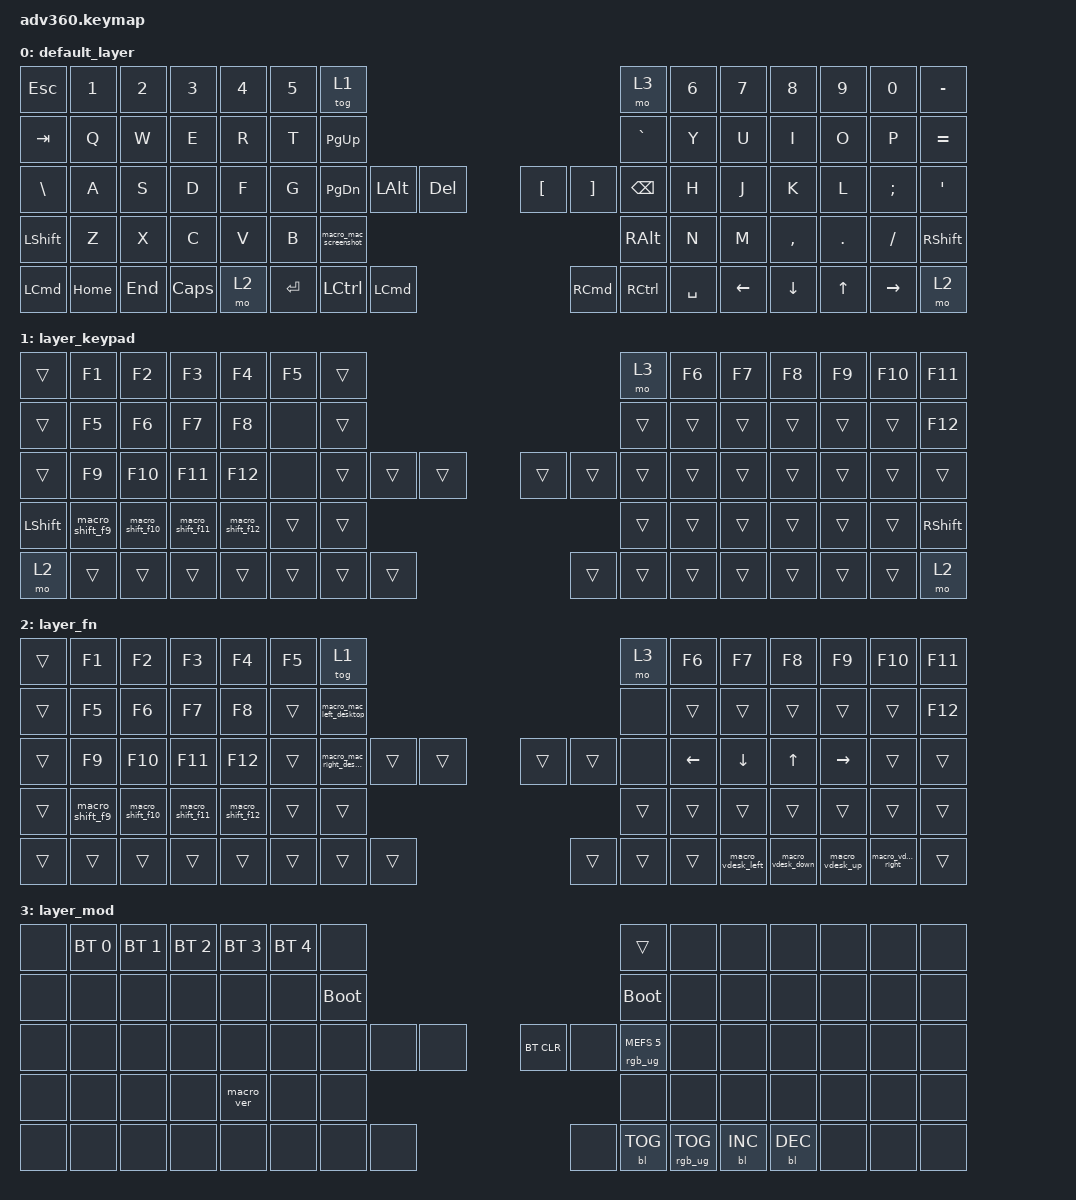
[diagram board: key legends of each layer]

/*
 * Copyright (c) 2020 The ZMK Contributors
 *
 * SPDX-License-Identifier: MIT
 */


/* THIS FILE WAS GENERATED!
 *
 * This file was generated automatically. You may or may not want to
 * edit it directly.
 */

#include <behaviors.dtsi>
#include <dt-bindings/zmk/keys.h>
#include <dt-bindings/zmk/bt.h>
#include <dt-bindings/zmk/rgb.h>
#include <dt-bindings/zmk/backlight.h>

/ {
  behaviors {
    #include "macros.dtsi"
    #include "version.dtsi"

    hm: homerow_mods {
        compatible = "zmk,behavior-hold-tap";
        label = "HOMEROW_MODS";
        #binding-cells = <2>;
        tapping-term-ms = <200>;
        quick_tap_ms = <175>;
        flavor = "tap-preferred";
        bindings = <&kp>, <&kp>;
    };
  };

    keymap {
        compatible = "zmk,keymap";


        default_layer {
            bindings = <
          &kp ESC    &kp N1   &kp N2    &kp N3  &kp N4  &kp N5                 &tog 1                                                                                          &mo 3  &kp N6          &kp N7          &kp N8        &kp N9           &kp N0  &kp MINUS
          &kp TAB     &kp Q    &kp W     &kp E   &kp R   &kp T            &kp PAGE_UP                                                                                      &kp GRAVE   &kp Y           &kp U           &kp I         &kp O            &kp P  &kp EQUAL
    &kp BACKSLASH     &kp A    &kp S     &kp D   &kp F   &kp G              &kp PG_DN   &kp LALT                &kp DEL                           &kp LBKT   &kp RBKT  &kp BACKSPACE   &kp H           &kp J           &kp K         &kp L         &kp SEMI    &kp SQT
        &kp LSHFT     &kp Z    &kp X     &kp C   &kp V   &kp B                                    &macro_mac_screenshot                      &kp RIGHT_ALT                             &kp N           &kp M       &kp COMMA       &kp DOT        &kp SLASH  &kp RSHFT
 &kp LEFT_COMMAND  &kp HOME  &kp END  &kp CAPS   &mo 2                      &kp ENTER  &kp LCTRL       &kp LEFT_COMMAND                  &kp RIGHT_COMMAND  &kp RCTRL      &kp SPACE          &kp LEFT_ARROW  &kp DOWN_ARROW  &kp UP_ARROW  &kp RIGHT_ARROW      &mo 2
            >;
        };

        layer_keypad {
            bindings = <
    &trans           &kp F1            &kp F2            &kp F3            &kp F4  &kp F5            &trans                                                   &mo 3  &kp F6  &kp F7  &kp F8  &kp F9  &kp F10    &kp F11
    &trans           &kp F5            &kp F6            &kp F7            &kp F8   &none            &trans                                                  &trans  &trans  &trans  &trans  &trans   &trans    &kp F12
    &trans           &kp F9           &kp F10           &kp F11           &kp F12   &none            &trans  &trans  &trans                  &trans  &trans  &trans  &trans  &trans  &trans  &trans   &trans     &trans
 &kp LSHFT  &macro_shift_f9  &macro_shift_f10  &macro_shift_f11  &macro_shift_f12  &trans                            &trans                  &trans                  &trans  &trans  &trans  &trans   &trans  &kp RSHFT
     &mo 2           &trans            &trans            &trans            &trans                    &trans  &trans  &trans                  &trans  &trans  &trans          &trans  &trans  &trans   &trans      &mo 2
            >;
        };

        layer_fn {
            bindings = <
 &trans           &kp F1            &kp F2            &kp F3            &kp F4  &kp F5                              &tog 1                                                   &mo 3          &kp F6             &kp F7             &kp F8           &kp F9             &kp F10  &kp F11
 &trans           &kp F5            &kp F6            &kp F7            &kp F8  &trans             &macro_mac_left_desktop                                                   &none          &trans             &trans             &trans           &trans              &trans  &kp F12
 &trans           &kp F9           &kp F10           &kp F11           &kp F12  &trans            &macro_mac_right_desktop  &trans  &trans                  &trans  &trans   &none  &kp LEFT_ARROW     &kp DOWN_ARROW       &kp UP_ARROW  &kp RIGHT_ARROW              &trans   &trans
 &trans  &macro_shift_f9  &macro_shift_f10  &macro_shift_f11  &macro_shift_f12  &trans                                              &trans                  &trans                          &trans             &trans             &trans           &trans              &trans   &trans
 &trans           &trans            &trans            &trans            &trans                                      &trans  &trans  &trans                  &trans  &trans  &trans                  &macro_vdesk_left  &macro_vdesk_down  &macro_vdesk_up  &macro_vdesk_right   &trans
            >;
        };

        layer_mod {
            bindings = <
  &none  &bt BT_SEL 0  &bt BT_SEL 1  &bt BT_SEL 2  &bt BT_SEL 3  &bt BT_SEL 4                  &none                                                                          &trans   &none       &none       &none   &none   &none   &none
  &none         &none         &none         &none         &none         &none            &bootloader                                                                     &bootloader   &none       &none       &none   &none   &none   &none
  &none         &none         &none         &none         &none         &none                  &none   &none   &none                  &bt BT_CLR       &none  &rgb_ug RGB_MEFS_CMD 5   &none       &none       &none   &none   &none   &none
  &none         &none         &none         &none    &macro_ver         &none                                  &none                       &none                                       &none       &none       &none   &none   &none   &none
  &none         &none         &none         &none         &none                                &none   &none   &none                       &none  &bl BL_TOG         &rgb_ug RGB_TOG          &bl BL_INC  &bl BL_DEC   &none   &none   &none
            >;
        };

    };
};
